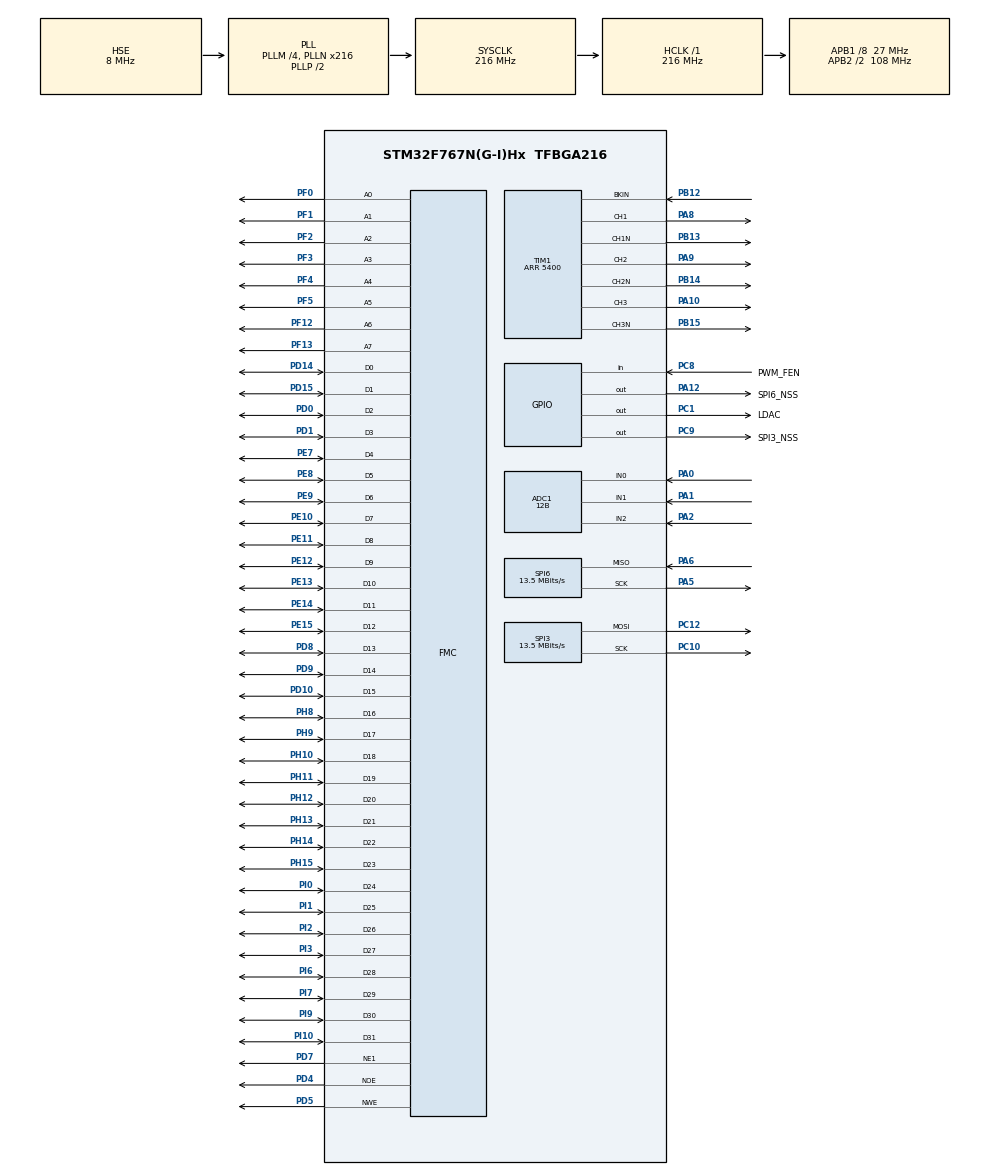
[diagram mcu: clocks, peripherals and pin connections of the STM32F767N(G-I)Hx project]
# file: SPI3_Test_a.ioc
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ADC1.Channel-0\#ChannelRegularConversion=ADC_CHANNEL_0
ADC1.Channel-1\#ChannelRegularConversion=ADC_CHANNEL_1
ADC1.Channel-2\#ChannelRegularConversion=ADC_CHANNEL_2
ADC1.ClockPrescaler=ADC_CLOCK_SYNC_PCLK_DIV4
ADC1.ContinuousConvMode=DISABLE
ADC1.DMAContinuousRequests=ENABLE
ADC1.DataAlign=ADC_DATAALIGN_RIGHT
ADC1.DiscontinuousConvMode=DISABLE
ADC1.EOCSelection=ADC_EOC_SEQ_CONV
ADC1.EnableAnalogWatchDog=false
ADC1.ExternalTrigConv=ADC_EXTERNALTRIGCONV_T1_TRGO
ADC1.ExternalTrigConvEdge=ADC_EXTERNALTRIGCONVEDGE_RISING
ADC1.InjNumberOfConversion=0
ADC1.NbrOfConversion=3
ADC1.NbrOfConversionFlag=1
ADC1.Rank-0\#ChannelRegularConversion=1
ADC1.Rank-1\#ChannelRegularConversion=2
ADC1.Rank-2\#ChannelRegularConversion=3
ADC1.Resolution=ADC_RESOLUTION_12B
ADC1.SamplingTime-0\#ChannelRegularConversion=ADC_SAMPLETIME_3CYCLES
ADC1.SamplingTime-1\#ChannelRegularConversion=ADC_SAMPLETIME_3CYCLES
ADC1.SamplingTime-2\#ChannelRegularConversion=ADC_SAMPLETIME_3CYCLES
ADC1.ScanConvMode=ENABLE
ADC1.master=1
CORTEX_M7.CPU_DCache=Disabled
CORTEX_M7.CPU_ICache=Disabled
CORTEX_M7.MPU_Control=__NULL
Dma.ADC1.0.Direction=DMA_PERIPH_TO_MEMORY
Dma.ADC1.0.FIFOMode=DMA_FIFOMODE_DISABLE
Dma.ADC1.0.Instance=DMA2_Stream0
Dma.ADC1.0.MemDataAlignment=DMA_MDATAALIGN_HALFWORD
Dma.ADC1.0.MemInc=DMA_MINC_ENABLE
Dma.ADC1.0.Mode=DMA_CIRCULAR
Dma.ADC1.0.PeriphDataAlignment=DMA_PDATAALIGN_HALFWORD
Dma.ADC1.0.PeriphInc=DMA_PINC_DISABLE
Dma.ADC1.0.Priority=DMA_PRIORITY_VERY_HIGH
Dma.Request0=ADC1
FMC.DataSetupTime1=100
FMC.ExtendedMode1=FMC_EXTENDED_MODE_DISABLE
FMC.WriteOperation1=FMC_WRITE_OPERATION_ENABLE
Mcu.Family=STM32F7
Mcu.Name=STM32F767N(G-I)Hx
Mcu.Package=TFBGA216
NVIC.ADC_IRQn=true\:0\:0\:true\:false\:true
NVIC.DMA2_Stream0_IRQn=true\:0\:0\:false\:false\:true
NVIC.PriorityGroup=NVIC_PRIORITYGROUP_4
PA0/WKUP.Signal=ADCx_IN0
PA1.Signal=ADCx_IN1
PA10.Signal=S_TIM1_CH3
PA12.GPIO_Label=SPI6_NSS
PA12.GPIO_Speed=GPIO_SPEED_FREQ_MEDIUM
PA12.PinState=GPIO_PIN_SET
PA12.Signal=GPIO_Output
PA2.Signal=ADCx_IN2
PA5.Mode=RX_Only_Simplex_Unidirect_Master
PA5.Signal=SPI6_SCK
PA6.Mode=RX_Only_Simplex_Unidirect_Master
PA6.Signal=SPI6_MISO
PA8.Signal=S_TIM1_CH1
PA9.Signal=S_TIM1_CH2
PB12.Mode=Activate-Break-Input
PB12.Signal=TIM1_BKIN
PB13.Mode=PWM Generation1 CH1 CH1N
PB13.Signal=TIM1_CH1N
PB14.Mode=PWM Generation2 CH2 CH2N
PB14.Signal=TIM1_CH2N
PB15.Mode=PWM Generation3 CH3 CH3N
PB15.Signal=TIM1_CH3N
PC1.GPIO_Label=LDAC
PC1.GPIO_Speed=GPIO_SPEED_FREQ_MEDIUM
PC1.Signal=GPIO_Output
PC10.Mode=TX_Only_Simplex_Unidirect_Master
PC10.Signal=SPI3_SCK
PC12.Mode=TX_Only_Simplex_Unidirect_Master
PC12.Signal=SPI3_MOSI
PC8.GPIO_Label=PWM_FEN
PC8.Signal=GPIO_Input
PC9.GPIO_Label=SPI3_NSS
PC9.GPIO_Speed=GPIO_SPEED_FREQ_MEDIUM
PC9.Signal=GPIO_Output
PD0.Signal=FMC_D2_DA2
PD1.Signal=FMC_D3_DA3
PD10.Signal=FMC_D15_DA15
PD14.Signal=FMC_D0_DA0
PD15.Signal=FMC_D1_DA1
PD4.Signal=FMC_NOE
PD5.Signal=FMC_NWE
PD7.Mode=NorPsramChipSelect1_1
PD7.Signal=FMC_NE1
PD8.Signal=FMC_D13_DA13
PD9.Signal=FMC_D14_DA14
PE10.Signal=FMC_D7_DA7
PE11.Signal=FMC_D8_DA8
PE12.Signal=FMC_D9_DA9
PE13.Signal=FMC_D10_DA10
PE14.Signal=FMC_D11_DA11
PE15.Signal=FMC_D12_DA12
PE7.Signal=FMC_D4_DA4
PE8.Signal=FMC_D5_DA5
PE9.Signal=FMC_D6_DA6
PF0.Signal=FMC_A0
PF1.Signal=FMC_A1
PF12.Signal=FMC_A6
PF13.Signal=FMC_A7
PF2.Signal=FMC_A2
PF3.Signal=FMC_A3
PF4.Signal=FMC_A4
PF5.Signal=FMC_A5
PH0/OSC_IN.Mode=HSE-External-Oscillator
PH0/OSC_IN.Signal=RCC_OSC_IN
PH1/OSC_OUT.Mode=HSE-External-Oscillator
PH1/OSC_OUT.Signal=RCC_OSC_OUT
PH10.Signal=FMC_D18
PH11.Signal=FMC_D19
PH12.Signal=FMC_D20
PH13.Signal=FMC_D21
PH14.Signal=FMC_D22
PH15.Signal=FMC_D23
PH8.Signal=FMC_D16
PH9.Signal=FMC_D17
PI0.Signal=FMC_D24
PI1.Signal=FMC_D25
PI10.Signal=FMC_D31
PI2.Signal=FMC_D26
PI3.Signal=FMC_D27
PI6.Signal=FMC_D28
PI7.Signal=FMC_D29
PI9.Signal=FMC_D30
ProjectManager.HeapSize=0x200
ProjectManager.StackSize=0x400
ProjectManager.TargetToolchain=MDK-ARM V5
RCC.AHBFreq_Value=216000000
RCC.APB1CLKDivider=RCC_HCLK_DIV8
RCC.APB1Freq_Value=27000000
RCC.APB1TimFreq_Value=54000000
RCC.APB2CLKDivider=RCC_HCLK_DIV2
RCC.APB2Freq_Value=108000000
RCC.APB2TimFreq_Value=216000000
RCC.CortexFreq_Value=216000000
RCC.HCLKFreq_Value=216000000
RCC.HSE_VALUE=8000000
RCC.HSI_VALUE=16000000
RCC.LSE_VALUE=32768
RCC.PLLM=4
RCC.PLLN=216
RCC.PLLSourceVirtual=RCC_PLLSOURCE_HSE
RCC.SYSCLKFreq_VALUE=216000000
RCC.SYSCLKSource=RCC_SYSCLKSOURCE_PLLCLK
RCC.USBFreq_Value=216000000
RCC.VCOOutputFreq_Value=432000000
SH.ADCx_IN0.0=ADC1_IN0,IN0
SH.ADCx_IN1.0=ADC1_IN1,IN1
SH.ADCx_IN2.0=ADC1_IN2,IN2
SH.FMC_A0.0=FMC_A0,8b-a1
SH.FMC_A1.0=FMC_A1,8b-a1
SH.FMC_A2.0=FMC_A2,8b-a1
SH.FMC_A3.0=FMC_A3,8b-a1
SH.FMC_A4.0=FMC_A4,8b-a1
SH.FMC_A5.0=FMC_A5,8b-a1
SH.FMC_A6.0=FMC_A6,8b-a1
SH.FMC_A7.0=FMC_A7,8b-a1
SH.FMC_D0_DA0.0=FMC_D0,32b-d1
SH.FMC_D10_DA10.0=FMC_D10,32b-d1
SH.FMC_D11_DA11.0=FMC_D11,32b-d1
SH.FMC_D12_DA12.0=FMC_D12,32b-d1
SH.FMC_D13_DA13.0=FMC_D13,32b-d1
SH.FMC_D14_DA14.0=FMC_D14,32b-d1
SH.FMC_D15_DA15.0=FMC_D15,32b-d1
SH.FMC_D16.0=FMC_D16,32b-d1
SH.FMC_D17.0=FMC_D17,32b-d1
SH.FMC_D18.0=FMC_D18,32b-d1
SH.FMC_D19.0=FMC_D19,32b-d1
SH.FMC_D1_DA1.0=FMC_D1,32b-d1
SH.FMC_D20.0=FMC_D20,32b-d1
SH.FMC_D21.0=FMC_D21,32b-d1
SH.FMC_D22.0=FMC_D22,32b-d1
SH.FMC_D23.0=FMC_D23,32b-d1
SH.FMC_D24.0=FMC_D24,32b-d1
SH.FMC_D25.0=FMC_D25,32b-d1
SH.FMC_D26.0=FMC_D26,32b-d1
SH.FMC_D27.0=FMC_D27,32b-d1
SH.FMC_D28.0=FMC_D28,32b-d1
SH.FMC_D29.0=FMC_D29,32b-d1
SH.FMC_D2_DA2.0=FMC_D2,32b-d1
SH.FMC_D30.0=FMC_D30,32b-d1
SH.FMC_D31.0=FMC_D31,32b-d1
SH.FMC_D3_DA3.0=FMC_D3,32b-d1
SH.FMC_D4_DA4.0=FMC_D4,32b-d1
SH.FMC_D5_DA5.0=FMC_D5,32b-d1
SH.FMC_D6_DA6.0=FMC_D6,32b-d1
SH.FMC_D7_DA7.0=FMC_D7,32b-d1
SH.FMC_D8_DA8.0=FMC_D8,32b-d1
SH.FMC_D9_DA9.0=FMC_D9,32b-d1
SH.FMC_NOE.0=FMC_NOE,Sram1
SH.FMC_NWE.0=FMC_NWE,Sram1
SH.S_TIM1_CH1.0=TIM1_CH1,PWM Generation1 CH1 CH1N
SH.S_TIM1_CH2.0=TIM1_CH2,PWM Generation2 CH2 CH2N
SH.S_TIM1_CH3.0=TIM1_CH3,PWM Generation3 CH3 CH3N
SPI3.BaudRatePrescaler=SPI_BAUDRATEPRESCALER_2
SPI3.CLKPhase=SPI_PHASE_1EDGE
SPI3.CLKPolarity=SPI_POLARITY_HIGH
SPI3.CalculateBaudRate=13.5 MBits/s
SPI3.DataSize=SPI_DATASIZE_16BIT
SPI3.Mode=SPI_MODE_MASTER
SPI3.NSSPMode=SPI_NSS_PULSE_DISABLE
SPI6.BaudRatePrescaler=SPI_BAUDRATEPRESCALER_8
SPI6.CLKPhase=SPI_PHASE_2EDGE
SPI6.CLKPolarity=SPI_POLARITY_HIGH
SPI6.CalculateBaudRate=13.5 MBits/s
SPI6.DataSize=SPI_DATASIZE_16BIT
SPI6.Direction=SPI_DIRECTION_2LINES_RXONLY
SPI6.Mode=SPI_MODE_MASTER
TIM1.AutomaticOutput=TIM_AUTOMATICOUTPUT_ENABLE
TIM1.BreakFilter=4
TIM1.BreakPolarity=TIM_BREAKPOLARITY_LOW
TIM1.Channel-PWM\ Generation2\ CH2\ CH2N=TIM_CHANNEL_2
TIM1.Channel-PWM\ Generation3\ CH3\ CH3N=TIM_CHANNEL_3
TIM1.CounterMode=TIM_COUNTERMODE_CENTERALIGNED1
TIM1.DeadTime=150
TIM1.OffStateIDLEMode=TIM_OSSI_ENABLE
TIM1.OffStateRunMode=TIM_OSSR_ENABLE
TIM1.Period=5400
TIM1.RepetitionCounter=1
TIM1.TIM_MasterOutputTrigger=TIM_TRGO_UPDATE
TIM1.TIM_MasterOutputTrigger2=TIM_TRGO2_RESET
TIM1.TIM_MasterSlaveMode=TIM_MASTERSLAVEMODE_ENABLE
VP_TIM1_VS_ClockSourceINT.Mode=Internal
board=SPI3_Test_a

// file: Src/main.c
/**
  ******************************************************************************
  * File Name          : main.c
  * Description        : Main program body
  ******************************************************************************
  *
  * COPYRIGHT(c) 2018 STMicroelectronics
  *
  * Redistribution and use in source and binary forms, with or without modification,
  * are permitted provided that the following conditions are met:
  *   1. Redistributions of source code must retain the above copyright notice,
  *      this list of conditions and the following disclaimer.
  *   2. Redistributions in binary form must reproduce the above copyright notice,
  *      this list of conditions and the following disclaimer in the documentation
  *      and/or other materials provided with the distribution.
  *   3. Neither the name of STMicroelectronics nor the names of its contributors
  *      may be used to endorse or promote products derived from this software
  *      without specific prior written permission.
  *
  * THIS SOFTWARE IS PROVIDED BY THE COPYRIGHT HOLDERS AND CONTRIBUTORS "AS IS"
  * AND ANY EXPRESS OR IMPLIED WARRANTIES, INCLUDING, BUT NOT LIMITED TO, THE
  * IMPLIED WARRANTIES OF MERCHANTABILITY AND FITNESS FOR A PARTICULAR PURPOSE ARE
  * DISCLAIMED. IN NO EVENT SHALL THE COPYRIGHT HOLDER OR CONTRIBUTORS BE LIABLE
  * FOR ANY DIRECT, INDIRECT, INCIDENTAL, SPECIAL, EXEMPLARY, OR CONSEQUENTIAL
  * DAMAGES (INCLUDING, BUT NOT LIMITED TO, PROCUREMENT OF SUBSTITUTE GOODS OR
  * SERVICES; LOSS OF USE, DATA, OR PROFITS; OR BUSINESS INTERRUPTION) HOWEVER
  * CAUSED AND ON ANY THEORY OF LIABILITY, WHETHER IN CONTRACT, STRICT LIABILITY,
  * OR TORT (INCLUDING NEGLIGENCE OR OTHERWISE) ARISING IN ANY WAY OUT OF THE USE
  * OF THIS SOFTWARE, EVEN IF ADVISED OF THE POSSIBILITY OF SUCH DAMAGE.
  *
  ******************************************************************************
  */
#include "main.h"
#include "stm32f7xx_hal.h"
#include "adc.h"
#include "dma.h"
#include "spi.h"
#include "tim.h"
#include "gpio.h"
#include "fmc.h"

/* USER CODE BEGIN Includes */

#include "controller.h"

/* USER CODE END Includes */

/* USER CODE BEGIN PV */
/* Private variables ---------------------------------------------------------*/
uint16_t adc_buf[4];

/* USER CODE END PV */

void SystemClock_Config(void);
void Error_Handler(void);

/* USER CODE BEGIN PFP */
/* Private function prototypes -----------------------------------------------*/

/* USER CODE END PFP */

/* USER CODE BEGIN 0 */

void InitTLV5630(void)
{
	uint16_t config_val;
	config_val = 0x8004;
	HAL_GPIO_WritePin(SPI3_NSS_GPIO_Port, SPI3_NSS_Pin, GPIO_PIN_RESET);
	HAL_SPI_Transmit(&hspi3,(uint8_t*)&config_val,1,1000);
	HAL_GPIO_WritePin(SPI3_NSS_GPIO_Port, SPI3_NSS_Pin, GPIO_PIN_SET);
}

/* USER CODE END 0 */

int main(void)
{

  /* MCU Configuration----------------------------------------------------------*/

  /* Reset of all peripherals, Initializes the Flash interface and the Systick. */
  HAL_Init();

  /* Configure the system clock */
  SystemClock_Config();

  /* Initialize all configured peripherals */
  MX_GPIO_Init();
  MX_DMA_Init();
  MX_SPI3_Init();
  MX_TIM1_Init();
  MX_ADC1_Init();
  MX_FMC_Init();
  MX_SPI6_Init();

  /* USER CODE BEGIN 2 */

	HAL_Delay(500);

	HAL_SRAM_WriteOperation_Enable(&hsram1);
	HAL_SRAM_Write_32b(&hsram1,(uint32_t*)0x60000004,(uint32_t*)"\x001",1);
	HAL_Delay(1);
	HAL_SRAM_Write_32b(&hsram1,(uint32_t*)0x60000008,(uint32_t*)"\x001",1);

	InitTLV5630();

	init_control();

	HAL_Delay(60);
	HAL_ADC_Start_DMA(&hadc1,(uint32_t*)adc_buf,3);

	HAL_TIM_PWM_Start(&htim1,TIM_CHANNEL_1);
	HAL_TIMEx_PWMN_Start(&htim1,TIM_CHANNEL_1);
	HAL_TIM_PWM_Start(&htim1,TIM_CHANNEL_2);
	HAL_TIMEx_PWMN_Start(&htim1,TIM_CHANNEL_2);
	HAL_TIM_PWM_Start(&htim1,TIM_CHANNEL_3);
	HAL_TIMEx_PWMN_Start(&htim1,TIM_CHANNEL_3);

  /* USER CODE END 2 */

  /* Infinite loop */
  while (1)
  {

  }

}

/** System Clock Configuration
*/
void SystemClock_Config(void)
{

  RCC_OscInitTypeDef RCC_OscInitStruct;
  RCC_ClkInitTypeDef RCC_ClkInitStruct;

    /**Configure the main internal regulator output voltage
    */
  __HAL_RCC_PWR_CLK_ENABLE();

  __HAL_PWR_VOLTAGESCALING_CONFIG(PWR_REGULATOR_VOLTAGE_SCALE1);

    /**Initializes the CPU, AHB and APB busses clocks
    */
  RCC_OscInitStruct.OscillatorType = RCC_OSCILLATORTYPE_HSE;
  RCC_OscInitStruct.HSEState = RCC_HSE_ON;
  RCC_OscInitStruct.PLL.PLLState = RCC_PLL_ON;
  RCC_OscInitStruct.PLL.PLLSource = RCC_PLLSOURCE_HSE;
  RCC_OscInitStruct.PLL.PLLM = 4;
  RCC_OscInitStruct.PLL.PLLN = 216;
  RCC_OscInitStruct.PLL.PLLP = RCC_PLLP_DIV2;
  RCC_OscInitStruct.PLL.PLLQ = 2;
  if (HAL_RCC_OscConfig(&RCC_OscInitStruct) != HAL_OK)
  {
    Error_Handler();
  }

    /**Activate the Over-Drive mode
    */
  if (HAL_PWREx_EnableOverDrive() != HAL_OK)
  {
    Error_Handler();
  }

    /**Initializes the CPU, AHB and APB busses clocks
    */
  RCC_ClkInitStruct.ClockType = RCC_CLOCKTYPE_HCLK|RCC_CLOCKTYPE_SYSCLK
                              |RCC_CLOCKTYPE_PCLK1|RCC_CLOCKTYPE_PCLK2;
  RCC_ClkInitStruct.SYSCLKSource = RCC_SYSCLKSOURCE_PLLCLK;
  RCC_ClkInitStruct.AHBCLKDivider = RCC_SYSCLK_DIV1;
  RCC_ClkInitStruct.APB1CLKDivider = RCC_HCLK_DIV8;
  RCC_ClkInitStruct.APB2CLKDivider = RCC_HCLK_DIV2;

  if (HAL_RCC_ClockConfig(&RCC_ClkInitStruct, FLASH_LATENCY_7) != HAL_OK)
  {
    Error_Handler();
  }

    /**Configure the Systick interrupt time
    */
  HAL_SYSTICK_Config(HAL_RCC_GetHCLKFreq()/1000);

    /**Configure the Systick
    */
  HAL_SYSTICK_CLKSourceConfig(SYSTICK_CLKSOURCE_HCLK);

  /* SysTick_IRQn interrupt configuration */
  HAL_NVIC_SetPriority(SysTick_IRQn, 0, 0);
}

/* USER CODE BEGIN 4 */

void HAL_ADC_ConvCpltCallback(ADC_HandleTypeDef* hadc)
{
		update_curr(adc_buf[0],adc_buf[1],adc_buf[2]);
		controltask();

}

/* USER CODE END 4 */

void Error_Handler(void)
{
  while(1)
  {
  }
}

/************************ (C) COPYRIGHT STMicroelectronics *****END OF FILE****/
